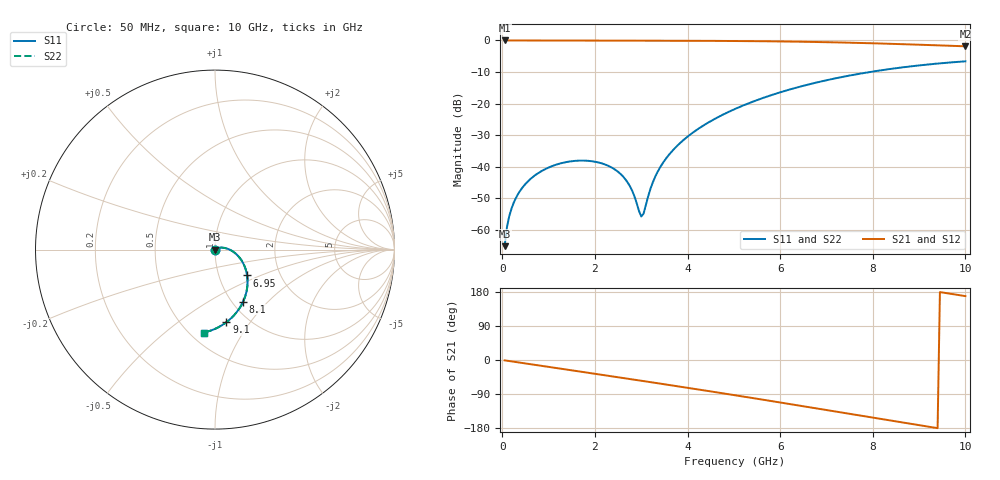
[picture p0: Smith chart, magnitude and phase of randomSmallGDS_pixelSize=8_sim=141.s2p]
! freq	dB(S11)	phase(S11)	dB(S12)	phase(S12)
!  dB(S21)	phase(S21)	dB(S22)	phase(S22)
!S-par simulation data
#  GHz  S  DB  R 50
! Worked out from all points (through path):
!   200 points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, 50 MHz to 10 GHz, reference 50 ohm
!   highest |S21| = 0.00 dB at 50 MHz (marker M1); lowest = -1.9 dB at 10 GHz (marker M2)
!   group delay of S21, straight-line fit = 53.4 ps
!   lowest |S11| = -65.2 dB at 50 MHz (marker M3), VSWR 1.00, Z = 50 - j0.0546 ohm
!   |S11| at or under -10 dB: start of sweep to 7.942 GHz
!   |S22| runs from -65.2 to -6.6 dB; largest |S21 - S12| = 0
!   S11 on the Smith chart (normalised r, x): 50 MHz: 1.00, -0.00; 6.95 GHz: 1.36, -0.41; 8.1 GHz: 1.12, -0.73; 9.1 GHz: 0.80, -0.78; 10 GHz: 0.58, -0.69
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0.05  -65.24 -86.9  -0.00 -0.9  -0.00 -0.9  -65.24 -86.9
0.1  -59.24 -89.9  -0.00 -1.8  -0.00 -1.8  -59.24 -89.9
0.2  -53.26 -92.8  -0.00 -3.7  -0.00 -3.7  -53.26 -92.8
0.5  -45.51 -99.2  -0.01 -9.1  -0.01 -9.1  -45.51 -99.2
1.05  -39.99 -110.1  -0.02 -19.1  -0.02 -19.1  -39.99 -110.1
1.75  -38.10 -124.4  -0.04 -31.8  -0.04 -31.8  -38.10 -124.5
2.2  -39.23 -134.7  -0.05 -40.0  -0.05 -40.0  -39.23 -134.8
2.55  -42.29 -145.1  -0.06 -46.4  -0.06 -46.4  -42.29 -145.3
2.8  -47.51 -159.8  -0.06 -51.0  -0.06 -51.0  -47.49 -160.4
3  -55.81 135.5  -0.07 -54.7  -0.07 -54.7  -55.60 135.2
3.05  -54.97 101.3  -0.07 -55.6  -0.07 -55.6  -54.76 101.7
3.25  -45.01 48.6  -0.07 -59.3  -0.07 -59.3  -44.97 49.1
3.4  -40.45 39.1  -0.08 -62.1  -0.08 -62.1  -40.43 39.4
3.7  -34.56 28.8  -0.09 -67.7  -0.09 -67.7  -34.55 29.0
4.05  -29.94 20.2  -0.10 -74.3  -0.10 -74.3  -29.93 20.3
5.05  -21.57 -0.8  -0.18 -93.4  -0.18 -93.4  -21.57 -0.7
6.7  -13.64 -33.9  -0.46 -126.0  -0.46 -126.0  -13.64 -33.8
6.95  -12.78 -38.9  -0.53 -131.0  -0.53 -131.0  -12.78 -38.8
8.1  -9.64 -61.7  -0.94 -154.1  -0.94 -154.1  -9.63 -61.6
8.35  -9.10 -66.6  -1.04 -159.1  -1.04 -159.1  -9.10 -66.5
9.1  -7.76 -81.0  -1.40 -174.0  -1.40 -174.0  -7.76 -81.0
10  -6.62 -97.9  -1.85 168.6  -1.85 168.6  -6.62 -97.8
